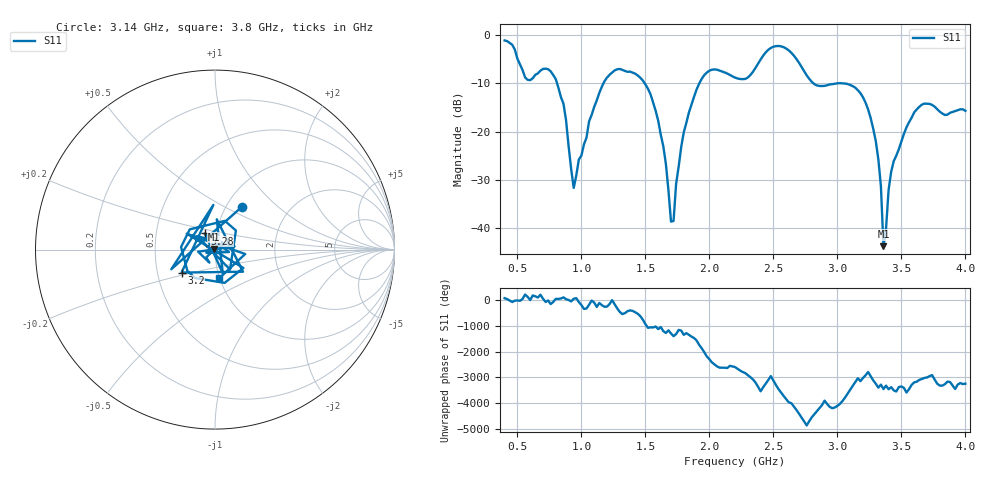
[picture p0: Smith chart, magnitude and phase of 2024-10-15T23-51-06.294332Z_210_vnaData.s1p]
! Created with skrf (http://scikit-rf.org).
# Hz S RI R 50.0
!freq ReS11 ImS11
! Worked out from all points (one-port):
!   181 points, 400 MHz to 4 GHz, reference 50 ohm
!   lowest |S11| = -43.7 dB at 3.36 GHz (marker M1), VSWR 1.01, Z = 49.5 + j0.373 ohm
!   |S11| at or under -10 dB: 809.5 MHz to 1.173 GHz (363.6 MHz wide, 36.7 % of centre); 1.493 GHz to 1.922 GHz (428.6 MHz wide, 25.1 % of centre); 3.021 GHz to end of sweep (the widest 3 of 4)
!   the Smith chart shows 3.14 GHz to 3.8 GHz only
!   S11 on the Smith chart (normalised r, x): 3.14 GHz: 1.18, +0.62; 3.2 GHz: 0.67, -0.18; 3.28 GHz: 0.88, +0.16; 3.8 GHz: 1.00, -0.32
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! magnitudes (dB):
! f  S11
! 400 MHz  -1.2
! 580 MHz  -9.3
! 760 MHz  -7.6
! 860 MHz  -14.2
! 940 MHz  -31.6
! 1.14 GHz  -12.0
! 1.3 GHz  -7.1
! 1.54 GHz  -12.3
! 1.64 GHz  -23.1
! 1.7 GHz  -38.6
! 1.72 GHz  -38.5
! 1.76 GHz  -27.2
! 1.84 GHz  -16.1
! 1.94 GHz  -9.1
! 2.2 GHz  -8.9
! 2.5 GHz  -2.5
! 2.66 GHz  -4.3
! 2.84 GHz  -10.5
! 3.1 GHz  -10.4
! 3.14 GHz  -10.9
! 3.2 GHz  -12.9
! 3.28 GHz  -19.4
! 3.34 GHz  -31.3
! 3.36 GHz  -43.7
! 3.42 GHz  -28.3
! 3.56 GHz  -18.1
! 3.8 GHz  -15.9
! 4 GHz  -15.7
